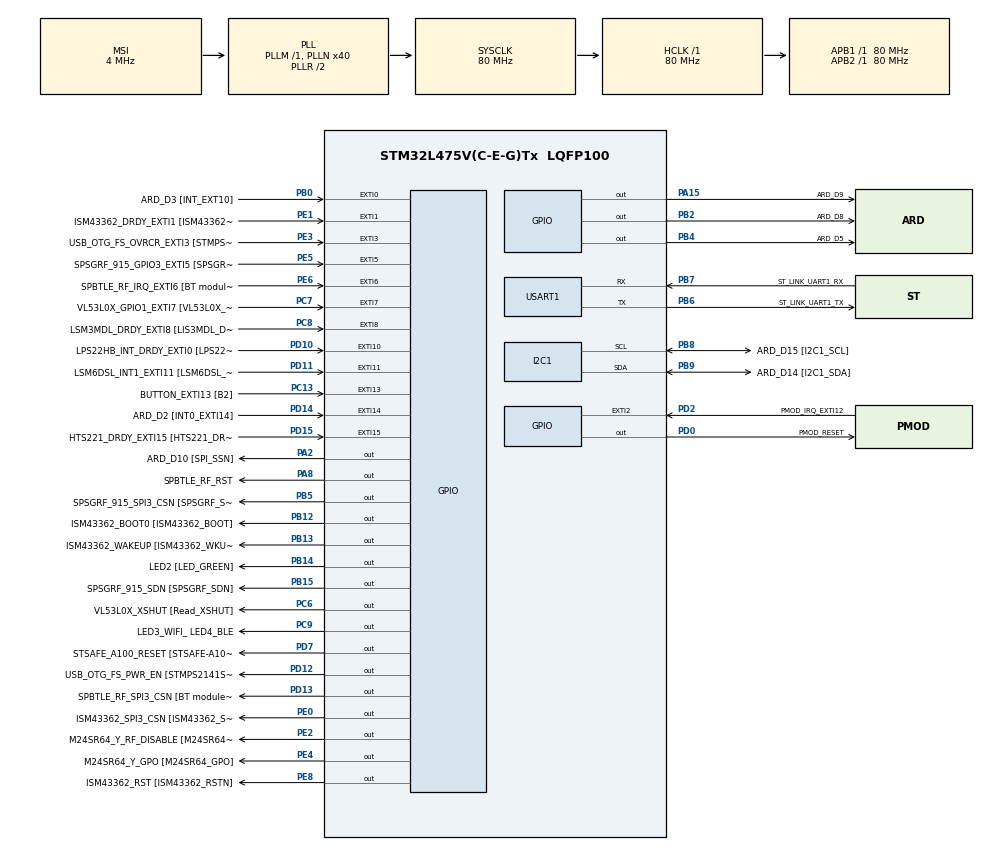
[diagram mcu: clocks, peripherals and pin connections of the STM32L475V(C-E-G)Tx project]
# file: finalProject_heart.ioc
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I2C1.Timing=0x10909CEC
Mcu.Family=STM32L4
Mcu.Name=STM32L475V(C-E-G)Tx
Mcu.Package=LQFP100
NVIC.EXTI15_10_IRQn=true\:0\:0\:false\:false\:true\:true\:true
NVIC.EXTI9_5_IRQn=true\:0\:0\:false\:false\:true\:true\:true
NVIC.PriorityGroup=NVIC_PRIORITYGROUP_4
NVIC.TIM1_UP_TIM16_IRQn=true\:0\:0\:false\:false\:true\:true\:true
PA0.GPIO_Label=ARD_D1 [UART4_TX]
PA0.Signal=UART4_TX
PA1.GPIO_Label=ARD_D0 [UART4_RX]
PA1.Signal=UART4_RX
PA10.GPIO_Label=USB_OTG_FS_ID
PA10.Signal=USB_OTG_FS_ID
PA11.GPIO_Label=USB_OTG_FS_DM
PA11.Signal=USB_OTG_FS_DM
PA12.GPIO_Label=USB_OTG_FS_DP
PA12.Signal=USB_OTG_FS_DP
PA13\ (JTMS-SWDIO).GPIO_Label=SYS_JTMS_SWDIO
PA13\ (JTMS-SWDIO).Signal=SYS_JTMS-SWDIO
PA14\ (JTCK-SWCLK).GPIO_Label=SYS_JTCK_SWCLK
PA14\ (JTCK-SWCLK).Signal=SYS_JTCK-SWCLK
PA15\ (JTDI).GPIO_Label=ARD_D9
PA15\ (JTDI).Signal=GPIO_Output
PA2.GPIO_Label=ARD_D10 [SPI_SSN]
PA2.Signal=GPIO_Output
PA3.GPIO_Label=ARD_D4
PA3.Signal=S_TIM2_CH4
PA4.GPIO_Label=ARD_D7
PA4.Signal=ADCx_IN9
PA5.GPIO_Label=ARD_D13 [SPI1_SCK]
PA5.Signal=SPI1_SCK
PA6.GPIO_Label=ARD_D12 [SPI1_MISO]
PA6.Signal=SPI1_MISO
PA7.GPIO_Label=ARD_D11 [SPI1_MOSI]
PA7.Signal=SPI1_MOSI
PA8.GPIO_Label=SPBTLE_RF_RST
PA8.Signal=GPIO_Output
PA9.GPIO_Label=USB_OTG_FS_VBUS [STMPS2141STR_OUT]
PA9.Signal=USB_OTG_FS_VBUS
PB0.GPIO_Label=ARD_D3 [INT_EXT10]
PB0.Signal=GPXTI0
PB1.GPIO_Label=ARD_D6 [ADC1_IN6]
PB1.Signal=ADCx_IN16
PB10.GPIO_Label=INTERNAL_I2C2_SCL [VL53L0X_SCL]
PB10.Signal=I2C2_SCL
PB11.GPIO_Label=INTERNAL_I2C2_SDA [VL53L0X_SDA]
PB11.Signal=I2C2_SDA
PB12.GPIO_Label=ISM43362_BOOT0 [ISM43362_BOOT]
PB12.Signal=GPIO_Output
PB13.GPIO_Label=ISM43362_WAKEUP [ISM43362_WKUP]
PB13.Signal=GPIO_Output
PB14.GPIO_Label=LED2 [LED_GREEN]
PB14.Signal=GPIO_Output
PB15.GPIO_Label=SPSGRF_915_SDN [SPSGRF_SDN]
PB15.Signal=GPIO_Output
PB2.GPIO_Label=ARD_D8
PB2.Signal=GPIO_Output
PB3\ (JTDO-TRACESWO).GPIO_Label=SYS_JTD0_SWO
PB3\ (JTDO-TRACESWO).Signal=SYS_JTDO-SWO
PB4\ (NJTRST).GPIO_Label=ARD_D5
PB4\ (NJTRST).Signal=GPIO_Output
PB5.GPIO_Label=SPSGRF_915_SPI3_CSN [SPSGRF_SPI_CS]
PB5.PinState=GPIO_PIN_SET
PB5.Signal=GPIO_Output
PB6.GPIO_Label=ST_LINK_UART1_TX
PB6.Mode=Asynchronous
PB6.Signal=USART1_TX
PB7.GPIO_Label=ST_LINK_UART1_RX
PB7.Mode=Asynchronous
PB7.Signal=USART1_RX
PB8.GPIO_Label=ARD_D15 [I2C1_SCL]
PB8.Mode=I2C
PB8.Signal=I2C1_SCL
PB9.GPIO_Label=ARD_D14 [I2C1_SDA]
PB9.Mode=I2C
PB9.Signal=I2C1_SDA
PC0.GPIO_Label=ARD_A5 [ADC]
PC0.Signal=ADCx_IN1
PC1.GPIO_Label=ARD_A4 [ADC]
PC1.Signal=ADCx_IN2
PC10.GPIO_Label=INTERNAL_SPI3_SCK [BT module_SPI_SCLK] [ISM43362_SCK]
PC10.Signal=SPI3_SCK
PC11.GPIO_Label=INTERNAL_SPI3_MISO [BT module_SPI_MISO] [ISM43362_MISO]
PC11.Signal=SPI3_MISO
PC12.GPIO_Label=INTERNAL_SPI3_MOSI [BT module_SPI_MOSI] [ISM43362_MOSI]
PC12.Signal=SPI3_MOSI
PC13.GPIO_Label=BUTTON_EXTI13 [B2]
PC13.GPIO_ModeDefaultEXTI=GPIO_MODE_IT_FALLING
PC13.Signal=GPXTI13
PC14-OSC32_IN\ (PC14).Signal=RCC_OSC32_IN
PC15-OSC32_OUT\ (PC15).Signal=RCC_OSC32_OUT
PC2.GPIO_Label=ARD_A3 [ADC]
PC2.Signal=ADCx_IN3
PC3.GPIO_Label=ARD_A2 [ADC]
PC3.Signal=ADCx_IN4
PC4.GPIO_Label=ARD_A1 [ADC]
PC4.Signal=ADCx_IN13
PC5.GPIO_Label=ARD_A0 [ADC]
PC5.Signal=ADCx_IN14
PC6.GPIO_Label=VL53L0X_XSHUT [Read_XSHUT]
PC6.Signal=GPIO_Output
PC7.GPIO_Label=VL53L0X_GPIO1_EXTI7 [VL53L0X_GPIO1]
PC7.Signal=GPXTI7
PC8.GPIO_Label=LSM3MDL_DRDY_EXTI8 [LIS3MDL_DRDY]
PC8.Signal=GPXTI8
PC9.GPIO_Label=LED3_WIFI_ LED4_BLE
PC9.Signal=GPIO_Output
PD0.GPIO_Label=PMOD_RESET
PD0.Signal=GPIO_Output
PD1.GPIO_Label=PMOD_SPI2_SCK
PD1.Signal=SPI2_SCK
PD10.GPIO_Label=LPS22HB_INT_DRDY_EXTI0 [LPS22HB_INT_DRDY] 
PD10.Signal=GPXTI10
PD11.GPIO_Label=LSM6DSL_INT1_EXTI11 [LSM6DSL_INT1]
PD11.Signal=GPXTI11
PD12.GPIO_Label=USB_OTG_FS_PWR_EN [STMPS2141STR_EN]
PD12.Signal=GPIO_Output
PD13.GPIO_Label=SPBTLE_RF_SPI3_CSN [BT module_SPI_CS]
PD13.PinState=GPIO_PIN_SET
PD13.Signal=GPIO_Output
PD14.GPIO_Label=ARD_D2 [INT0_EXTI14]
PD14.Signal=GPXTI14
PD15.GPIO_Label=HTS221_DRDY_EXTI15 [HTS221_DRDY]
PD15.Signal=GPXTI15
PD2.GPIO_Label=PMOD_IRQ_EXTI12
PD2.Signal=GPXTI2
PD3.GPIO_Label=PMOD_UART2_CTS
PD3.Signal=USART2_CTS
PD4.GPIO_Label=PMOD_UART2_RTS
PD4.Signal=USART2_RTS
PD5.GPIO_Label=PMOD_UART2_TX
PD5.Signal=USART2_TX
PD6.GPIO_Label=PMOD_UART2_RX
PD6.Signal=USART2_RX
PD7.GPIO_Label=STSAFE_A100_RESET [STSAFE-A100_RESET]
PD7.Signal=GPIO_Output
PD8.GPIO_Label=INTERNAL_UART3_TX [ISM43362_RX]
PD8.Signal=USART3_TX
PD9.GPIO_Label=INTERNAL_UART3_RX [ISM43362_TX]
PD9.Signal=USART3_RX
PE0.GPIO_Label=ISM43362_SPI3_CSN [ISM43362_SSN]
PE0.PinState=GPIO_PIN_SET
PE0.Signal=GPIO_Output
PE1.GPIO_Label=ISM43362_DRDY_EXTI1 [ISM43362_DATARDY]
PE1.Signal=GPXTI1
PE10.GPIO_Label=QUADSPI_CLK [MX25R6435F_SCLK]
PE10.Signal=QUADSPI_CLK
PE11.GPIO_Label=QUADSPI_NCS [MX25R6435F_SCLK]
PE11.Signal=QUADSPI_NCS
PE12.GPIO_Label=OQUADSPI_BK1_IO0 [MX25R6435F_IO0]
PE12.Signal=QUADSPI_BK1_IO0
PE13.GPIO_Label=QUADSPI_BK1_IO1 [MX25R6435F_IO1]
PE13.Signal=QUADSPI_BK1_IO1
PE14.GPIO_Label=QUAD_SPI_BK1_IO2 [MX25R6435F_IO2]
PE14.Signal=QUADSPI_BK1_IO2
PE15.GPIO_Label=QUAD_SPI_BK1_IO3 [MX25R6435F_IO3]
PE15.Signal=QUADSPI_BK1_IO3
PE2.GPIO_Label=M24SR64_Y_RF_DISABLE [M24SR64_RFDIS]
PE2.Signal=GPIO_Output
PE3.GPIO_Label=USB_OTG_FS_OVRCR_EXTI3 [STMPS2141STR_FAULT]
PE3.Signal=GPXTI3
PE4.GPIO_Label=M24SR64_Y_GPO [M24SR64_GPO]
PE4.Signal=GPIO_Output
PE5.GPIO_Label=SPSGRF_915_GPIO3_EXTI5 [SPSGRF_GPIO_3]
PE5.Signal=GPXTI5
PE6.GPIO_Label=SPBTLE_RF_IRQ_EXTI6 [BT module_SPI_IRQ]
PE6.Signal=GPXTI6
PE7.GPIO_Label=DFSDM1_DATIN2 [MP34DT01_DOUT]
PE7.Signal=S_DATAIN2DFSDM1
PE8.GPIO_Label=ISM43362_RST [ISM43362_RSTN]
PE8.Signal=GPIO_Output
PE9.GPIO_Label=DFSDM1_CKOUT [MP34DT01_CLK]
PE9.Signal=S_CKOUTDFSDM1
ProjectManager.HeapSize=0x200
ProjectManager.StackSize=0x400
ProjectManager.TargetToolchain=STM32CubeIDE
RCC.ADCFreq_Value=48000000
RCC.AHBFreq_Value=80000000
RCC.APB1Freq_Value=80000000
RCC.APB1TimFreq_Value=80000000
RCC.APB2Freq_Value=80000000
RCC.APB2TimFreq_Value=80000000
RCC.CortexFreq_Value=80000000
RCC.HCLKFreq_Value=80000000
RCC.HSE_VALUE=8000000
RCC.HSI_VALUE=16000000
RCC.LSE_VALUE=32768
RCC.MSI_VALUE=4000000
RCC.PLLN=40
RCC.PLLSAI1N=24
RCC.SYSCLKFreq_VALUE=80000000
RCC.SYSCLKSource=RCC_SYSCLKSOURCE_PLLCLK
RCC.USBFreq_Value=48000000
RCC.VCOOutputFreq_Value=160000000
SH.ADCx_IN1.0=ADC1_IN1
SH.ADCx_IN13.0=ADC1_IN13
SH.ADCx_IN14.0=ADC1_IN14
SH.ADCx_IN16.0=ADC1_IN16
SH.ADCx_IN2.0=ADC1_IN2
SH.ADCx_IN3.0=ADC1_IN3
SH.ADCx_IN4.0=ADC1_IN4
SH.ADCx_IN9.0=ADC1_IN9
SH.S_CKOUTDFSDM1.0=DFSDM1_CKOUT
SH.S_DATAIN2DFSDM1.0=DFSDM1_DATIN2
SH.S_TIM2_CH4.0=TIM2_CH4
TIM16.Period=9999
TIM16.Prescaler=7999
USART1.VirtualMode-Asynchronous=VM_ASYNC
VP_TIM16_VS_ClockSourceINT.Mode=Enable_Timer
board=B-L475E-IOT01A1

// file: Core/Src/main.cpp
// ECE 6110 - Final Project - IoT Optical Heart Rate Plotter
//
// The following code performs the following:
//
// After configuring and connecting to a WIFI network, the embedded HTTP server begins
// listening for requests made by clients. In between requests, the connected sensor
// collects data for about one second, processing the data to extract a heart rate,
// which only occurs if a person’s finger is placed onto the sensor, otherwise the
// measured heart-rate becomes zero. Triggered by a timer, an interrupt first shifts
// the heart-rate storage array to the right, effectively deleting the oldest measurement,
// and then storing the newest sample in the open space in the array. Because this
// interrupt is executed every one second, the heart-rate storage array always contains
// the previous ten seconds of heart-rate measurements. If the HTTP server detects a request,
// it then constructs a dynamic plot using a JavaScript plotting API, which access the previous
// ten seconds of heart-rate samples from the array and encodes the results in the page being
// constructed, which is then sent to the client once construction completes. Once this page is
// loaded by the client, an auto-refresh line within the page will automatically request another
// page every one second, and thus the page is now a ‘live’ view of the heart-rate data from
// whomever places their finger onto the sensor.
//
#include "main.h"
#include <stdbool.h>
#include <string.h>
#include <stdio.h>
#include <stdlib.h>
#include "MAX30105.h"
#include "heartRate.h"

#define SSID     "Pixel_8244"
#define PASSWORD "6159160679"
#define PORT           80

#define WIFI_WRITE_TIMEOUT 10000
#define WIFI_READ_TIMEOUT  10000
#define SOCKET                 0

// The entire HTML webpage is stored in this char array,
// better make it big
//static  uint8_t http[16384];
static  uint8_t  IP_Addr[4];

static uint8_t  currentTemp = 0;
static uint16_t currentDist = 0;

char bpmDisplay[50] = {0};

// Damping factor for the webserver
int dampingFactor = 100;

// This stores the portion of the javascript responsible for
// holding the heart rate values. This needs to be separate so it
// can be formatted using sprintf
char graphArray[300] = {0};

//Increase this for more averaging. 4 is good.
const uint8_t RATE_SIZE = 4;

//Array of heart rates
uint8_t rates[RATE_SIZE];
uint8_t rateSpot = 0;

//Time at which the last beat occurred
long lastBeat = 0;

// Current bpm
float beatsPerMinute;

// Average of the previous bpm readings
int beatAvg;

// This array is 10 samples long, for 10 seconds
// of heart rate data
uint8_t beatArray[10] = {0};

// I2C handle for the heart rate monitor
I2C_HandleTypeDef hi2c1;

// Timer handle for the timer interrupt
TIM_HandleTypeDef htim16;

// UART handle so we can send data over the terminal
UART_HandleTypeDef huart1;

// Initializes the heart rate sensor (this will call the constructor)
MAX30105 particleSensor;

// General peripheral and other system init functions
void SystemClock_Config(void);
static void MX_GPIO_Init(void);
static void MX_I2C1_Init(void);
static void MX_TIM16_Init(void);
static void MX_USART1_UART_Init(void);

// Nice function for printing over UART
void serialPrint(char buffer[]);

// All wifi-related functions
static  WIFI_Status_t SendWebPage( uint8_t temperature, uint16_t proxData);
static  int wifi_server(void);
static  int wifi_start(void);
static  int wifi_connect(void);
static  bool WebServerProcess(void);

int main(void)
{

  // HAL and system clock init
  HAL_Init();
  SystemClock_Config();

  // Initialize other peripherals
  MX_GPIO_Init();
  MX_I2C1_Init();
  MX_TIM16_Init();
  MX_USART1_UART_Init();

  // The I2C read address of the heart rate sensor
  static const uint8_t MAX30102_READ_ADDRESS = 0xAF;

  // Starts the timer and enables interrupts (which trigger
  // depending on the timer's ARR)
  HAL_TIM_Base_Start(&htim16);
  __HAL_TIM_ENABLE_IT(&htim16, TIM_IT_UPDATE );

   // Initializes the heart-rate sensor
   particleSensor.begin(&hi2c1, MAX30102_READ_ADDRESS);
   particleSensor.setup();

    serialPrint("****** WIFI Web Server Initialization ****** \n\r");

    // Calls the wifi server function -
    //
    // NOTE - once this is called, the server runs until it is stopped
    wifi_server();

    while(1) {

    }

}

// Wifi Stuff
static int wifi_start(void)
{
uint8_t  MAC_Addr[6];

/*Initialize and use WIFI module */
if(WIFI_Init() ==  WIFI_STATUS_OK)
{
  serialPrint("ES-WIFI Initialized.\n\r");
  if(WIFI_GetMAC_Address(MAC_Addr) == WIFI_STATUS_OK)
  {

    char macAdd[60] = {0};
    sprintf(macAdd,"> es-wifi module MAC Address : %X:%X:%X:%X:%X:%X\n\r",
            MAC_Addr[0],
            MAC_Addr[1],
            MAC_Addr[2],
            MAC_Addr[3],
            MAC_Addr[4],
            MAC_Addr[5]);

    serialPrint(macAdd);

  }
  else
  {
    serialPrint("> ERROR : CANNOT get MAC address\n\r");
    return -1;
  }
}
else
{
  return -1;
}
return 0;
}

int wifi_connect(void)
{

wifi_start();

char connecting[100] = {0};
sprintf(connecting,"\nConnecting to %s , %s\n\r",SSID,PASSWORD);
serialPrint(connecting);

if( WIFI_Connect(SSID, PASSWORD, WIFI_ECN_WPA2_PSK) == WIFI_STATUS_OK)
{
  if(WIFI_GetIP_Address(IP_Addr) == WIFI_STATUS_OK)
  {

    char connectMes[100] = {0};
    sprintf(connectMes,"> es-wifi module connected: got IP Address : %d.%d.%d.%d\n\r",
            IP_Addr[0],
            IP_Addr[1],
            IP_Addr[2],
            IP_Addr[3]);

    serialPrint(connectMes);

  }
  else
  {
		  serialPrint(" ERROR : es-wifi module CANNOT get IP address\n\r");
    return -1;
  }
}
else
{
		 serialPrint("ERROR : es-wifi module NOT connected\n\r");
   return -1;
}
return 0;
}

int wifi_server(void)
{
bool StopServer = false;

serialPrint("Running HTML Server test\n\r");
if (wifi_connect()!=0) return -1;

if (WIFI_STATUS_OK!=WIFI_StartServer(SOCKET, WIFI_TCP_PROTOCOL, 1, "", PORT))
{
  serialPrint("ERROR: Cannot start server.\n\r");
}

char logMes[100] = {0};
sprintf(logMes,"Server is running and waiting for an HTTP  Client connection to %d.%d.%d.%d\n\r",IP_Addr[0],IP_Addr[1],IP_Addr[2],IP_Addr[3]);
serialPrint(logMes);

do
{
  uint8_t RemoteIP[4];
  uint16_t RemotePort;

  while (WIFI_STATUS_OK != WIFI_WaitServerConnection(SOCKET,2,RemoteIP,&RemotePort))
  {

	  // Reset the damping count
	  int countTime = 0;

	  // This is a damping factor for the webserver process
	  // This causes the webserver to check for connections
	  // at a slower rate than normal, thus allowing more time for collecting
	  // optical IR samples, which needs to happened very rapidly
	  while (countTime < dampingFactor) {

	  // Following code was taken from the library ported earlier
	  //
	  // See reference #4 on the paper
	  long irValue = particleSensor.getIR();

	  	  if (checkForBeat(irValue) == true)
	  	  {
	  	    //We sensed a beat!
	  	    long delta = HAL_GetTick() - lastBeat;
	  	    lastBeat = HAL_GetTick();

	  	    beatsPerMinute = 60 / (delta / 1000.0);

	  	    if (beatsPerMinute < 255 && beatsPerMinute > 20)
	  	    {
	  	      //Store this reading in the array
	  	      rates[rateSpot++] = (uint8_t)beatsPerMinute;
	  	      //Wrap variable
	  	      rateSpot %= RATE_SIZE;

	  	      //Take average of readings
	  	      beatAvg = 0;
	  	      for (uint8_t x = 0 ; x < RATE_SIZE ; x++)
	  	        beatAvg += rates[x];
	  	      beatAvg /= RATE_SIZE;
	  	    }
	  	  }

	  	  // Set the average beat count to 0 if there is no finger placed on the
	  	  // sensor. Under normal light conditions, the IR value is about 1000 with no
	  	  // finger on the sensor, but should never rise above 5000
	  	  if (irValue < 5000) {

	  		  beatAvg = 0;

	  	  }

	  	  // Lol, of your heart-rate fits in this condition, sound an alarm
	  	  if (((beatAvg < 40)||(beatAvg > 120)) && (beatAvg != 0)) {

	  		HAL_GPIO_WritePin(GPIOB, GPIO_PIN_14, GPIO_PIN_SET);

	  	  }

	  	  else {

	  		HAL_GPIO_WritePin(GPIOB, GPIO_PIN_14, GPIO_PIN_RESET);

	  	  }

	  	  sprintf(bpmDisplay, "IR= %d , BPM= %d , Avg BPM= %d \n\r", irValue, (uint8_t)beatsPerMinute, (uint8_t)beatAvg);

	  	  HAL_UART_Transmit(&huart1, (uint8_t*)bpmDisplay , strlen(bpmDisplay), HAL_MAX_DELAY);

	  	  countTime++;

	  }

  }

  char conMes[100] = {0};
  sprintf(conMes,"Client connected %d.%d.%d.%d:%d\n\r",RemoteIP[0],RemoteIP[1],RemoteIP[2],RemoteIP[3],RemotePort);
  serialPrint(conMes);

  StopServer=WebServerProcess();

  if(WIFI_CloseServerConnection(SOCKET) != WIFI_STATUS_OK)
  {
    serialPrint("ERROR: failed to close current Server connection\n\r");
    return -1;
  }
}
while(StopServer == false);

if (WIFI_STATUS_OK!=WIFI_StopServer(SOCKET))
{
  serialPrint("ERROR: Cannot stop server.\n\r");
}

serialPrint("Server is stop\n\r");
return 0;
}

static bool WebServerProcess(void)
{

uint16_t  respLen;

static   uint8_t resp[1024];
bool    stopserver=false;

if (WIFI_STATUS_OK == WIFI_ReceiveData(SOCKET, resp, 1000, &respLen, WIFI_READ_TIMEOUT))
{

 char getByte[40] = {0};
 sprintf(getByte, "get %d byte(s) from server\n\r",respLen);
 serialPrint(getByte);

 if( respLen > 0)
 {
    if(strstr((char *)resp, "GET")) /* GET: put web page */
    {

      if(SendWebPage( currentTemp, currentDist) != WIFI_STATUS_OK)
      {
        serialPrint("> ERROR : Cannot send web page\n\r");
      }
      else
      {
        serialPrint("Send page after  GET command\n\r");
      }
     }
     else if(strstr((char *)resp, "POST"))/* POST: received info */
     {
       serialPrint("Post request\n\r");

		// Put stuff here for POST requests

       if(strstr((char *)resp, "stop_server"))
       {
         if(strstr((char *)resp, "stop_server=0"))
         {
           stopserver = false;
         }
         else if(strstr((char *)resp, "stop_server=1"))
         {
           stopserver = true;
         }
       }

       if(SendWebPage( currentTemp, currentDist) != WIFI_STATUS_OK)
       {
         serialPrint("> ERROR : Cannot send web page\n\r");
       }
       else
       {
         serialPrint("Send Page after POST command\n\r");
       }
     }
   }
}
else
{
  serialPrint("Client close connection\n\r");
}
return stopserver;

}

// This is where the nice graph is created. Essentially, the graph is just javascript that
// plots a really slick-looking dynamic plot (the library I used called it a spline plot).
//
// The javascript basically includes a 2-D representation of the previous 10 seconds of
// hear-rate readings. The javascript also includes a 1-second auto-refresh, which automatically
// requests more data every 1 second. After the browser requests new data, this function is called
// and it constructs the new graph and then sends using the wifi drivers
static WIFI_Status_t SendWebPage( uint8_t temperature, uint16_t proxData)
{

uint16_t SentDataLength;
WIFI_Status_t ret;

// Reset the webpage to 0
uint8_t http5[16384] = {0};

//char jScript[] = "<!DOCTYPE HTML>\r\n<html>\r\n <meta http-equiv=\"refresh\" content=\"1\">\r\n<head>\r\n<script>\r\nwindow.onload = function () {\r\n\r\nvar dps = [];\r\nvar chart = new CanvasJS.Chart(\"chartContainer\", {\r\n\texportEnabled: true,\r\n\ttitle :{\r\n\t\ttext: \"Heart Rate Over Time\"\r\n\t},\r\n  axisY :{\r\n\t\ttitle: \"Average Beats\",\r\n\t\tsuffix: \"bpm\"\r\n\t},\r\n  axisX :{\r\n\t\ttitle: \"Last 10 Seconds\",\r\n\t\tsuffix: \"s\"\r\n\t},\r\n\tdata: [{\r\n\t\ttype: \"spline\",\r\n\t\tmarkerSize: 0,\r\n\t\tdataPoints: dps \r\n\t}]\r\n});\r\n\r\nvar updateInterval = 1000000;\r\nvar dataLength = 10; \r\n\r\nvar updateChart = function (count) {\r\n\r\n  dps.push({ x:10 ,y:1});\r\n  dps.push({ x:9 ,y:1});\r\n  dps.push({ x:8 ,y:4});\r\n  dps.push({ x:7 ,y:5});\r\n  dps.push({ x:6 ,y:7});\r\n  dps.push({ x:5 ,y:8});\r\n  dps.push({ x:4 ,y:10});\r\n  dps.push({ x:3 ,y:1});\r\n  dps.push({ x:2 ,y:1});\r\n  dps.push({ x:1 ,y:4});\r\n  \r\n  chart.render();\r\n};\r\n\r\nupdateChart(dataLength); \r\nsetInterval(function(){ updateChart() }, updateInterval); \r\n\r\n}\r\n</script>\r\n</head>\r\n<body>\r\n<div id=\"chartContainer\" style=\"height: 300px; width: 100%;\"></div>\r\n<script src=\"https://canvasjs.com/assets/script/canvasjs.min.js\"></script> \r\n</body>\r\n</html>";

// This is the start of the graph javacript
char jScript[] = "<!DOCTYPE HTML>\r\n<html>\r\n <meta http-equiv=\"refresh\" content=\"1\">\r\n<head>\r\n<script>\r\nwindow.onload = function () {\r\n\r\nvar dps = [];\r\nvar chart = new CanvasJS.Chart(\"chartContainer\", {\r\n\texportEnabled: true,\r\n\ttitle :{\r\n\t\ttext: \"Heart Rate Over Time\"\r\n\t},\r\n  axisY :{\r\n\t\ttitle: \"Average Beats\",\r\n\t\tsuffix: \"bpm\"\r\n\t},\r\n  axisX :{\r\n\t\ttitle: \"Last 10 Seconds\",\r\n\t\tsuffix: \"s\"\r\n\t},\r\n\tdata: [{\r\n\t\ttype: \"spline\",\r\n\t\tmarkerSize: 0,\r\n\t\tdataPoints: dps \r\n\t}]\r\n});\r\n\r\nvar updateInterval = 1000000;\r\nvar dataLength = 10; \r\n\r\nvar updateChart = function (count) {\r\n\r\n  ";

// This is where the new values are spliced into the existing graph-infrastructure, everything else
// is the same. Basically, this sprintf line accesses the previous 10 samples and formats them in the correct positions
// so that the javascript plot will recognize them as valid points on the graph
sprintf(graphArray,"dps.push({ x:10 ,y:%d});\r\n  dps.push({ x:9 ,y:%d});\r\n  dps.push({ x:8 ,y:%d});\r\n  dps.push({ x:7 ,y:%d});\r\n  dps.push({ x:6 ,y:%d});\r\n  dps.push({ x:5 ,y:%d});\r\n  dps.push({ x:4 ,y:%d});\r\n  dps.push({ x:3 ,y:%d});\r\n  dps.push({ x:2 ,y:%d});\r\n  dps.push({ x:1 ,y:%d});\r\n",beatArray[0], beatArray[1],beatArray[2],beatArray[3],beatArray[4],beatArray[5],beatArray[6],beatArray[7],beatArray[8],beatArray[9]);

// Just the end of the plot javascript
char jScriptEnd[] = "  \r\n  chart.render();\r\n};\r\n\r\nupdateChart(dataLength); \r\nsetInterval(function(){ updateChart() }, updateInterval); \r\n\r\n}\r\n</script>\r\n</head>\r\n<body>\r\n<div id=\"chartContainer\" style=\"height: 300px; width: 100%;\"></div>\r\n<script src=\"https://canvasjs.com/assets/script/canvasjs.min.js\"></script> \r\n</body>\r\n</html>";

// These next 3 lines are string concatenation, which basically just copies the strings
// contents to the http5, which holds all the values for the webpage
strcat((char *)http5, jScript);
strcat((char *)http5, graphArray);
strcat((char *)http5, jScriptEnd);

// Send the page off
ret = WIFI_SendData(0, (uint8_t *)http5, strlen((char *)http5), &SentDataLength, WIFI_WRITE_TIMEOUT);

if((ret == WIFI_STATUS_OK) && (SentDataLength != strlen((char *)http5)))
{
  ret = WIFI_STATUS_ERROR;
}

return ret;
}

void SystemClock_Config(void)
{
  RCC_OscInitTypeDef RCC_OscInitStruct = {0};
  RCC_ClkInitTypeDef RCC_ClkInitStruct = {0};
  RCC_PeriphCLKInitTypeDef PeriphClkInit = {0};

  /** Initializes the RCC Oscillators according to the specified parameters
  * in the RCC_OscInitTypeDef structure.
  */
  RCC_OscInitStruct.OscillatorType = RCC_OSCILLATORTYPE_MSI;
  RCC_OscInitStruct.MSIState = RCC_MSI_ON;
  RCC_OscInitStruct.MSICalibrationValue = 0;
  RCC_OscInitStruct.MSIClockRange = RCC_MSIRANGE_6;
  RCC_OscInitStruct.PLL.PLLState = RCC_PLL_ON;
  RCC_OscInitStruct.PLL.PLLSource = RCC_PLLSOURCE_MSI;
  RCC_OscInitStruct.PLL.PLLM = 1;
  RCC_OscInitStruct.PLL.PLLN = 40;
  RCC_OscInitStruct.PLL.PLLP = RCC_PLLP_DIV7;
  RCC_OscInitStruct.PLL.PLLQ = RCC_PLLQ_DIV2;
  RCC_OscInitStruct.PLL.PLLR = RCC_PLLR_DIV2;
  if (HAL_RCC_OscConfig(&RCC_OscInitStruct) != HAL_OK)
  {
    Error_Handler();
  }
  /** Initializes the CPU, AHB and APB buses clocks
  */
  RCC_ClkInitStruct.ClockType = RCC_CLOCKTYPE_HCLK|RCC_CLOCKTYPE_SYSCLK
                              |RCC_CLOCKTYPE_PCLK1|RCC_CLOCKTYPE_PCLK2;
  RCC_ClkInitStruct.SYSCLKSource = RCC_SYSCLKSOURCE_PLLCLK;
  RCC_ClkInitStruct.AHBCLKDivider = RCC_SYSCLK_DIV1;
  RCC_ClkInitStruct.APB1CLKDivider = RCC_HCLK_DIV1;
  RCC_ClkInitStruct.APB2CLKDivider = RCC_HCLK_DIV1;

  if (HAL_RCC_ClockConfig(&RCC_ClkInitStruct, FLASH_LATENCY_4) != HAL_OK)
  {
    Error_Handler();
  }
  PeriphClkInit.PeriphClockSelection = RCC_PERIPHCLK_USART1|RCC_PERIPHCLK_I2C1;
  PeriphClkInit.Usart1ClockSelection = RCC_USART1CLKSOURCE_PCLK2;
  PeriphClkInit.I2c1ClockSelection = RCC_I2C1CLKSOURCE_PCLK1;
  if (HAL_RCCEx_PeriphCLKConfig(&PeriphClkInit) != HAL_OK)
  {
    Error_Handler();
  }
  /** Configure the main internal regulator output voltage
  */
  if (HAL_PWREx_ControlVoltageScaling(PWR_REGULATOR_VOLTAGE_SCALE1) != HAL_OK)
  {
    Error_Handler();
  }
}

static void MX_I2C1_Init(void)
{

  hi2c1.Instance = I2C1;
  hi2c1.Init.Timing = 0x10909CEC;
  hi2c1.Init.OwnAddress1 = 0;
  hi2c1.Init.AddressingMode = I2C_ADDRESSINGMODE_7BIT;
  hi2c1.Init.DualAddressMode = I2C_DUALADDRESS_DISABLE;
  hi2c1.Init.OwnAddress2 = 0;
  hi2c1.Init.OwnAddress2Masks = I2C_OA2_NOMASK;
  hi2c1.Init.GeneralCallMode = I2C_GENERALCALL_DISABLE;
  hi2c1.Init.NoStretchMode = I2C_NOSTRETCH_DISABLE;
  if (HAL_I2C_Init(&hi2c1) != HAL_OK)
  {
    Error_Handler();
  }
  /** Configure Analogue filter
  */
  if (HAL_I2CEx_ConfigAnalogFilter(&hi2c1, I2C_ANALOGFILTER_ENABLE) != HAL_OK)
  {
    Error_Handler();
  }
  /** Configure Digital filter
  */
  if (HAL_I2CEx_ConfigDigitalFilter(&hi2c1, 0) != HAL_OK)
  {
    Error_Handler();
  }

}

// This timer is configured for 1 second intervals
static void MX_TIM16_Init(void)
{

  htim16.Instance = TIM16;
  htim16.Init.Prescaler = 7999;
  htim16.Init.CounterMode = TIM_COUNTERMODE_UP;
  htim16.Init.Period = 9999;
  htim16.Init.ClockDivision = TIM_CLOCKDIVISION_DIV1;
  htim16.Init.RepetitionCounter = 0;
  htim16.Init.AutoReloadPreload = TIM_AUTORELOAD_PRELOAD_DISABLE;
  if (HAL_TIM_Base_Init(&htim16) != HAL_OK)
  {
    Error_Handler();
  }

}

static void MX_USART1_UART_Init(void)
{

  huart1.Instance = USART1;
  huart1.Init.BaudRate = 115200;
  huart1.Init.WordLength = UART_WORDLENGTH_8B;
  huart1.Init.StopBits = UART_STOPBITS_1;
  huart1.Init.Parity = UART_PARITY_NONE;
  huart1.Init.Mode = UART_MODE_TX_RX;
  huart1.Init.HwFlowCtl = UART_HWCONTROL_NONE;
  huart1.Init.OverSampling = UART_OVERSAMPLING_16;
  huart1.Init.OneBitSampling = UART_ONE_BIT_SAMPLE_DISABLE;
  huart1.AdvancedInit.AdvFeatureInit = UART_ADVFEATURE_NO_INIT;
  if (HAL_UART_Init(&huart1) != HAL_OK)
  {
    Error_Handler();
  }

}

static void MX_GPIO_Init(void)
{
  GPIO_InitTypeDef GPIO_InitStruct = {0};

  /* GPIO Ports Clock Enable */
  __HAL_RCC_GPIOE_CLK_ENABLE();
  __HAL_RCC_GPIOC_CLK_ENABLE();
  __HAL_RCC_GPIOA_CLK_ENABLE();
  __HAL_RCC_GPIOB_CLK_ENABLE();
  __HAL_RCC_GPIOD_CLK_ENABLE();

  /*Configure GPIO pin Output Level */
  HAL_GPIO_WritePin(GPIOE, M24SR64_Y_RF_DISABLE_Pin|M24SR64_Y_GPO_Pin|ISM43362_RST_Pin, GPIO_PIN_RESET);

  /*Configure GPIO pin Output Level */
  HAL_GPIO_WritePin(GPIOA, ARD_D10_Pin|SPBTLE_RF_RST_Pin|ARD_D9_Pin, GPIO_PIN_RESET);

  /*Configure GPIO pin Output Level */
  HAL_GPIO_WritePin(GPIOB, ARD_D8_Pin|ISM43362_BOOT0_Pin|ISM43362_WAKEUP_Pin|LED2_Pin
                          |SPSGRF_915_SDN_Pin|ARD_D5_Pin, GPIO_PIN_RESET);

  /*Configure GPIO pin Output Level */
  HAL_GPIO_WritePin(GPIOD, USB_OTG_FS_PWR_EN_Pin|PMOD_RESET_Pin|STSAFE_A100_RESET_Pin, GPIO_PIN_RESET);

  /*Configure GPIO pin Output Level */
  HAL_GPIO_WritePin(SPBTLE_RF_SPI3_CSN_GPIO_Port, SPBTLE_RF_SPI3_CSN_Pin, GPIO_PIN_SET);

  /*Configure GPIO pin Output Level */
  HAL_GPIO_WritePin(GPIOC, VL53L0X_XSHUT_Pin|LED3_WIFI__LED4_BLE_Pin, GPIO_PIN_RESET);

  /*Configure GPIO pin Output Level */
  HAL_GPIO_WritePin(SPSGRF_915_SPI3_CSN_GPIO_Port, SPSGRF_915_SPI3_CSN_Pin, GPIO_PIN_SET);

  /*Configure GPIO pin Output Level */
  HAL_GPIO_WritePin(ISM43362_SPI3_CSN_GPIO_Port, ISM43362_SPI3_CSN_Pin, GPIO_PIN_SET);

  /*Configure GPIO pins : M24SR64_Y_RF_DISABLE_Pin M24SR64_Y_GPO_Pin ISM43362_RST_Pin ISM43362_SPI3_CSN_Pin */
  GPIO_InitStruct.Pin = M24SR64_Y_RF_DISABLE_Pin|M24SR64_Y_GPO_Pin|ISM43362_RST_Pin|ISM43362_SPI3_CSN_Pin;
  GPIO_InitStruct.Mode = GPIO_MODE_OUTPUT_PP;
  GPIO_InitStruct.Pull = GPIO_NOPULL;
  GPIO_InitStruct.Speed = GPIO_SPEED_FREQ_LOW;
  HAL_GPIO_Init(GPIOE, &GPIO_InitStruct);

  /*Configure GPIO pins : USB_OTG_FS_OVRCR_EXTI3_Pin SPSGRF_915_GPIO3_EXTI5_Pin SPBTLE_RF_IRQ_EXTI6_Pin ISM43362_DRDY_EXTI1_Pin */
  GPIO_InitStruct.Pin = USB_OTG_FS_OVRCR_EXTI3_Pin|SPSGRF_915_GPIO3_EXTI5_Pin|SPBTLE_RF_IRQ_EXTI6_Pin|ISM43362_DRDY_EXTI1_Pin;
  GPIO_InitStruct.Mode = GPIO_MODE_IT_RISING;
  GPIO_InitStruct.Pull = GPIO_NOPULL;
  HAL_GPIO_Init(GPIOE, &GPIO_InitStruct);

  /*Configure GPIO pin : BUTTON_EXTI13_Pin */
  GPIO_InitStruct.Pin = BUTTON_EXTI13_Pin;
  GPIO_InitStruct.Mode = GPIO_MODE_IT_FALLING;
  GPIO_InitStruct.Pull = GPIO_NOPULL;
  HAL_GPIO_Init(BUTTON_EXTI13_GPIO_Port, &GPIO_InitStruct);

  /*Configure GPIO pins : ARD_A5_Pin ARD_A4_Pin ARD_A3_Pin ARD_A2_Pin
                           ARD_A1_Pin ARD_A0_Pin */
  GPIO_InitStruct.Pin = ARD_A5_Pin|ARD_A4_Pin|ARD_A3_Pin|ARD_A2_Pin
                          |ARD_A1_Pin|ARD_A0_Pin;
  GPIO_InitStruct.Mode = GPIO_MODE_ANALOG_ADC_CONTROL;
  GPIO_InitStruct.Pull = GPIO_NOPULL;
  HAL_GPIO_Init(GPIOC, &GPIO_InitStruct);

  /*Configure GPIO pins : ARD_D1_Pin ARD_D0_Pin */
  GPIO_InitStruct.Pin = ARD_D1_Pin|ARD_D0_Pin;
  GPIO_InitStruct.Mode = GPIO_MODE_AF_PP;
  GPIO_InitStruct.Pull = GPIO_NOPULL;
  GPIO_InitStruct.Speed = GPIO_SPEED_FREQ_VERY_HIGH;
  GPIO_InitStruct.Alternate = GPIO_AF8_UART4;
  HAL_GPIO_Init(GPIOA, &GPIO_InitStruct);

  /*Configure GPIO pins : ARD_D10_Pin SPBTLE_RF_RST_Pin ARD_D9_Pin */
  GPIO_InitStruct.Pin = ARD_D10_Pin|SPBTLE_RF_RST_Pin|ARD_D9_Pin;
  GPIO_InitStruct.Mode = GPIO_MODE_OUTPUT_PP;
  GPIO_InitStruct.Pull = GPIO_NOPULL;
  GPIO_InitStruct.Speed = GPIO_SPEED_FREQ_LOW;
  HAL_GPIO_Init(GPIOA, &GPIO_InitStruct);

  /*Configure GPIO pin : ARD_D4_Pin */
  GPIO_InitStruct.Pin = ARD_D4_Pin;
  GPIO_InitStruct.Mode = GPIO_MODE_AF_PP;
  GPIO_InitStruct.Pull = GPIO_NOPULL;
  GPIO_InitStruct.Speed = GPIO_SPEED_FREQ_LOW;
  GPIO_InitStruct.Alternate = GPIO_AF1_TIM2;
  HAL_GPIO_Init(ARD_D4_GPIO_Port, &GPIO_InitStruct);

  /*Configure GPIO pin : ARD_D7_Pin */
  GPIO_InitStruct.Pin = ARD_D7_Pin;
  GPIO_InitStruct.Mode = GPIO_MODE_ANALOG_ADC_CONTROL;
  GPIO_InitStruct.Pull = GPIO_NOPULL;
  HAL_GPIO_Init(ARD_D7_GPIO_Port, &GPIO_InitStruct);

  /*Configure GPIO pins : ARD_D13_Pin ARD_D12_Pin ARD_D11_Pin */
  GPIO_InitStruct.Pin = ARD_D13_Pin|ARD_D12_Pin|ARD_D11_Pin;
  GPIO_InitStruct.Mode = GPIO_MODE_AF_PP;
  GPIO_InitStruct.Pull = GPIO_NOPULL;
  GPIO_InitStruct.Speed = GPIO_SPEED_FREQ_VERY_HIGH;
  GPIO_InitStruct.Alternate = GPIO_AF5_SPI1;
  HAL_GPIO_Init(GPIOA, &GPIO_InitStruct);

  /*Configure GPIO pin : ARD_D3_Pin */
  GPIO_InitStruct.Pin = ARD_D3_Pin;
  GPIO_InitStruct.Mode = GPIO_MODE_IT_RISING;
  GPIO_InitStruct.Pull = GPIO_NOPULL;
  HAL_GPIO_Init(ARD_D3_GPIO_Port, &GPIO_InitStruct);

  /*Configure GPIO pin : ARD_D6_Pin */
  GPIO_InitStruct.Pin = ARD_D6_Pin;
  GPIO_InitStruct.Mode = GPIO_MODE_ANALOG_ADC_CONTROL;
  GPIO_InitStruct.Pull = GPIO_NOPULL;
  HAL_GPIO_Init(ARD_D6_GPIO_Port, &GPIO_InitStruct);

  /*Configure GPIO pins : ARD_D8_Pin ISM43362_BOOT0_Pin ISM43362_WAKEUP_Pin LED2_Pin
                           SPSGRF_915_SDN_Pin ARD_D5_Pin SPSGRF_915_SPI3_CSN_Pin */
  GPIO_InitStruct.Pin = ARD_D8_Pin|ISM43362_BOOT0_Pin|ISM43362_WAKEUP_Pin|LED2_Pin
                          |SPSGRF_915_SDN_Pin|ARD_D5_Pin|SPSGRF_915_SPI3_CSN_Pin;
  GPIO_InitStruct.Mode = GPIO_MODE_OUTPUT_PP;
  GPIO_InitStruct.Pull = GPIO_NOPULL;
  GPIO_InitStruct.Speed = GPIO_SPEED_FREQ_LOW;
  HAL_GPIO_Init(GPIOB, &GPIO_InitStruct);

  /*Configure GPIO pins : DFSDM1_DATIN2_Pin DFSDM1_CKOUT_Pin */
  GPIO_InitStruct.Pin = DFSDM1_DATIN2_Pin|DFSDM1_CKOUT_Pin;
  GPIO_InitStruct.Mode = GPIO_MODE_AF_PP;
  GPIO_InitStruct.Pull = GPIO_NOPULL;
  GPIO_InitStruct.Speed = GPIO_SPEED_FREQ_LOW;
  GPIO_InitStruct.Alternate = GPIO_AF6_DFSDM1;
  HAL_GPIO_Init(GPIOE, &GPIO_InitStruct);

  /*Configure GPIO pins : QUADSPI_CLK_Pin QUADSPI_NCS_Pin OQUADSPI_BK1_IO0_Pin QUADSPI_BK1_IO1_Pin
                           QUAD_SPI_BK1_IO2_Pin QUAD_SPI_BK1_IO3_Pin */
  GPIO_InitStruct.Pin = QUADSPI_CLK_Pin|QUADSPI_NCS_Pin|OQUADSPI_BK1_IO0_Pin|QUADSPI_BK1_IO1_Pin
                          |QUAD_SPI_BK1_IO2_Pin|QUAD_SPI_BK1_IO3_Pin;
  GPIO_InitStruct.Mode = GPIO_MODE_AF_PP;
  GPIO_InitStruct.Pull = GPIO_NOPULL;
  GPIO_InitStruct.Speed = GPIO_SPEED_FREQ_VERY_HIGH;
  GPIO_InitStruct.Alternate = GPIO_AF10_QUADSPI;
  HAL_GPIO_Init(GPIOE, &GPIO_InitStruct);

  /*Configure GPIO pins : INTERNAL_I2C2_SCL_Pin INTERNAL_I2C2_SDA_Pin */
  GPIO_InitStruct.Pin = INTERNAL_I2C2_SCL_Pin|INTERNAL_I2C2_SDA_Pin;
  GPIO_InitStruct.Mode = GPIO_MODE_AF_OD;
  GPIO_InitStruct.Pull = GPIO_PULLUP;
  GPIO_InitStruct.Speed = GPIO_SPEED_FREQ_VERY_HIGH;
  GPIO_InitStruct.Alternate = GPIO_AF4_I2C2;
  HAL_GPIO_Init(GPIOB, &GPIO_InitStruct);

  /*Configure GPIO pins : INTERNAL_UART3_TX_Pin INTERNAL_UART3_RX_Pin */
  GPIO_InitStruct.Pin = INTERNAL_UART3_TX_Pin|INTERNAL_UART3_RX_Pin;
  GPIO_InitStruct.Mode = GPIO_MODE_AF_PP;
  GPIO_InitStruct.Pull = GPIO_NOPULL;
  GPIO_InitStruct.Speed = GPIO_SPEED_FREQ_VERY_HIGH;
  GPIO_InitStruct.Alternate = GPIO_AF7_USART3;
  HAL_GPIO_Init(GPIOD, &GPIO_InitStruct);

  /*Configure GPIO pins : LPS22HB_INT_DRDY_EXTI0_Pin LSM6DSL_INT1_EXTI11_Pin ARD_D2_Pin HTS221_DRDY_EXTI15_Pin
                           PMOD_IRQ_EXTI12_Pin */
  GPIO_InitStruct.Pin = LPS22HB_INT_DRDY_EXTI0_Pin|LSM6DSL_INT1_EXTI11_Pin|ARD_D2_Pin|HTS221_DRDY_EXTI15_Pin
                          |PMOD_IRQ_EXTI12_Pin;
  GPIO_InitStruct.Mode = GPIO_MODE_IT_RISING;
  GPIO_InitStruct.Pull = GPIO_NOPULL;
  HAL_GPIO_Init(GPIOD, &GPIO_InitStruct);

  /*Configure GPIO pins : USB_OTG_FS_PWR_EN_Pin SPBTLE_RF_SPI3_CSN_Pin PMOD_RESET_Pin STSAFE_A100_RESET_Pin */
  GPIO_InitStruct.Pin = USB_OTG_FS_PWR_EN_Pin|SPBTLE_RF_SPI3_CSN_Pin|PMOD_RESET_Pin|STSAFE_A100_RESET_Pin;
  GPIO_InitStruct.Mode = GPIO_MODE_OUTPUT_PP;
  GPIO_InitStruct.Pull = GPIO_NOPULL;
  GPIO_InitStruct.Speed = GPIO_SPEED_FREQ_LOW;
  HAL_GPIO_Init(GPIOD, &GPIO_InitStruct);

  /*Configure GPIO pins : VL53L0X_XSHUT_Pin LED3_WIFI__LED4_BLE_Pin */
  GPIO_InitStruct.Pin = VL53L0X_XSHUT_Pin|LED3_WIFI__LED4_BLE_Pin;
  GPIO_InitStruct.Mode = GPIO_MODE_OUTPUT_PP;
  GPIO_InitStruct.Pull = GPIO_NOPULL;
  GPIO_InitStruct.Speed = GPIO_SPEED_FREQ_LOW;
  HAL_GPIO_Init(GPIOC, &GPIO_InitStruct);

  /*Configure GPIO pins : VL53L0X_GPIO1_EXTI7_Pin LSM3MDL_DRDY_EXTI8_Pin */
  GPIO_InitStruct.Pin = VL53L0X_GPIO1_EXTI7_Pin|LSM3MDL_DRDY_EXTI8_Pin;
  GPIO_InitStruct.Mode = GPIO_MODE_IT_RISING;
  GPIO_InitStruct.Pull = GPIO_NOPULL;
  HAL_GPIO_Init(GPIOC, &GPIO_InitStruct);

  /*Configure GPIO pin : USB_OTG_FS_VBUS_Pin */
  GPIO_InitStruct.Pin = USB_OTG_FS_VBUS_Pin;
  GPIO_InitStruct.Mode = GPIO_MODE_INPUT;
  GPIO_InitStruct.Pull = GPIO_NOPULL;
  HAL_GPIO_Init(USB_OTG_FS_VBUS_GPIO_Port, &GPIO_InitStruct);

  /*Configure GPIO pins : USB_OTG_FS_ID_Pin USB_OTG_FS_DM_Pin USB_OTG_FS_DP_Pin */
  GPIO_InitStruct.Pin = USB_OTG_FS_ID_Pin|USB_OTG_FS_DM_Pin|USB_OTG_FS_DP_Pin;
  GPIO_InitStruct.Mode = GPIO_MODE_AF_PP;
  GPIO_InitStruct.Pull = GPIO_NOPULL;
  GPIO_InitStruct.Speed = GPIO_SPEED_FREQ_VERY_HIGH;
  GPIO_InitStruct.Alternate = GPIO_AF10_OTG_FS;
  HAL_GPIO_Init(GPIOA, &GPIO_InitStruct);

  /*Configure GPIO pins : INTERNAL_SPI3_SCK_Pin INTERNAL_SPI3_MISO_Pin INTERNAL_SPI3_MOSI_Pin */
  GPIO_InitStruct.Pin = INTERNAL_SPI3_SCK_Pin|INTERNAL_SPI3_MISO_Pin|INTERNAL_SPI3_MOSI_Pin;
  GPIO_InitStruct.Mode = GPIO_MODE_AF_PP;
  GPIO_InitStruct.Pull = GPIO_NOPULL;
  GPIO_InitStruct.Speed = GPIO_SPEED_FREQ_VERY_HIGH;
  GPIO_InitStruct.Alternate = GPIO_AF6_SPI3;
  HAL_GPIO_Init(GPIOC, &GPIO_InitStruct);

  /*Configure GPIO pin : PMOD_SPI2_SCK_Pin */
  GPIO_InitStruct.Pin = PMOD_SPI2_SCK_Pin;
  GPIO_InitStruct.Mode = GPIO_MODE_AF_PP;
  GPIO_InitStruct.Pull = GPIO_NOPULL;
  GPIO_InitStruct.Speed = GPIO_SPEED_FREQ_VERY_HIGH;
  GPIO_InitStruct.Alternate = GPIO_AF5_SPI2;
  HAL_GPIO_Init(PMOD_SPI2_SCK_GPIO_Port, &GPIO_InitStruct);

  /*Configure GPIO pins : PMOD_UART2_CTS_Pin PMOD_UART2_RTS_Pin PMOD_UART2_TX_Pin PMOD_UART2_RX_Pin */
  GPIO_InitStruct.Pin = PMOD_UART2_CTS_Pin|PMOD_UART2_RTS_Pin|PMOD_UART2_TX_Pin|PMOD_UART2_RX_Pin;
  GPIO_InitStruct.Mode = GPIO_MODE_AF_PP;
  GPIO_InitStruct.Pull = GPIO_NOPULL;
  GPIO_InitStruct.Speed = GPIO_SPEED_FREQ_VERY_HIGH;
  GPIO_InitStruct.Alternate = GPIO_AF7_USART2;
  HAL_GPIO_Init(GPIOD, &GPIO_InitStruct);

  /* EXTI interrupt init*/
  HAL_NVIC_SetPriority(EXTI9_5_IRQn, 0, 0);
  HAL_NVIC_EnableIRQ(EXTI9_5_IRQn);

  HAL_NVIC_SetPriority(EXTI15_10_IRQn, 0, 0);
  HAL_NVIC_EnableIRQ(EXTI15_10_IRQn);

}

/* USER CODE BEGIN 4 */

void HAL_GPIO_EXTI_Callback(uint16_t GPIO_Pin)
{
switch (GPIO_Pin)
{
  case (GPIO_PIN_1):
  {
    SPI_WIFI_ISR();
    break;
  }

  // This triggers if the blue-button
  // interrupt is triggered. This is the only
  // way to reset the alarm
  case (GPIO_PIN_13):
  	{

      	//alarm = false;

  	}
  default:
  {
    break;
  }
}
}

/**
* @brief  SPI3 line detection callback.
* @param  None
* @retval None
*/
void SPI3_IRQHandler(void)
{
HAL_SPI_IRQHandler(&hspi);
}

// Made a function for printing over the USART, as I was tired of copy-pasting
// the obscenely long HAL transmit function
void serialPrint(char buffer[]) {

	HAL_UART_Transmit(&huart1, (uint8_t*)buffer , strlen(buffer), HAL_MAX_DELAY);

}

void HAL_TIM_PeriodElapsedCallback(TIM_HandleTypeDef *htim)
{
  // Check to make sure the correct timer called this interrupt
  if (htim == &htim16 )
  {

	  //serialPrint("Interrupt works! \n\r");

	  // Catch the current avg beat value
	  uint8_t heartBeatAvg  = (uint8_t)beatAvg;

	  // Shift the beat array over by 1
	  for (int i=0; i<9;i++) {

		  beatArray[9-i] = beatArray[8-i];

	  }

	  // Store the latest value
	  beatArray[0] = heartBeatAvg;

	  // The array has now been fully shifted by 1

  }

}

/* USER CODE END 4 */

void Error_Handler(void)
{
}

/************************ (C) COPYRIGHT STMicroelectronics *****END OF FILE****/
